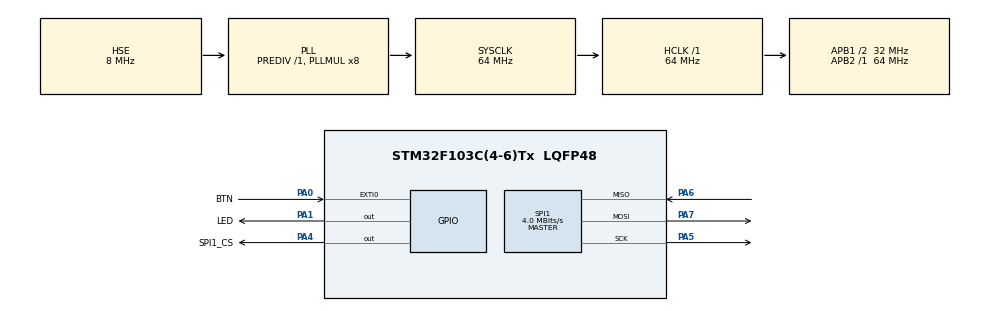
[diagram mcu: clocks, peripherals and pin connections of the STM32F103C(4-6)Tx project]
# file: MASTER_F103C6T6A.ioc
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Mcu.Family=STM32F1
Mcu.Name=STM32F103C(4-6)Tx
Mcu.Package=LQFP48
NVIC.EXTI0_IRQn=true\:0\:0\:false\:false\:true\:true\:true\:true
NVIC.PriorityGroup=NVIC_PRIORITYGROUP_4
PA0-WKUP.GPIO_Label=BTN
PA0-WKUP.GPIO_ModeDefaultEXTI=GPIO_MODE_IT_FALLING
PA0-WKUP.GPIO_PuPd=GPIO_NOPULL
PA0-WKUP.Signal=GPXTI0
PA1.GPIO_Label=LED
PA1.GPIO_Speed=GPIO_SPEED_FREQ_HIGH
PA1.Signal=GPIO_Output
PA13.Mode=Trace_Asynchronous_SW
PA13.Signal=SYS_JTMS-SWDIO
PA14.Mode=Trace_Asynchronous_SW
PA14.Signal=SYS_JTCK-SWCLK
PA4.GPIO_Label=SPI1_CS
PA4.GPIO_Speed=GPIO_SPEED_FREQ_HIGH
PA4.PinState=GPIO_PIN_SET
PA4.Signal=GPIO_Output
PA5.GPIO_Speed=GPIO_SPEED_FREQ_LOW
PA5.Mode=Full_Duplex_Master
PA5.Signal=SPI1_SCK
PA6.Mode=Full_Duplex_Master
PA6.Signal=SPI1_MISO
PA7.GPIO_Speed=GPIO_SPEED_FREQ_LOW
PA7.Mode=Full_Duplex_Master
PA7.Signal=SPI1_MOSI
PB3.Mode=Trace_Asynchronous_SW
PB3.Signal=SYS_JTDO-TRACESWO
PD0-OSC_IN.Mode=HSE-External-Oscillator
PD0-OSC_IN.Signal=RCC_OSC_IN
PD1-OSC_OUT.Mode=HSE-External-Oscillator
PD1-OSC_OUT.Signal=RCC_OSC_OUT
ProjectManager.HeapSize=0x200
ProjectManager.StackSize=0x400
ProjectManager.TargetToolchain=STM32CubeIDE
RCC.AHBFreq_Value=64000000
RCC.APB1CLKDivider=RCC_HCLK_DIV2
RCC.APB1Freq_Value=32000000
RCC.APB1TimFreq_Value=64000000
RCC.APB2Freq_Value=64000000
RCC.APB2TimFreq_Value=64000000
RCC.HCLKFreq_Value=64000000
RCC.PLLMUL=RCC_PLL_MUL8
RCC.PLLSourceVirtual=RCC_PLLSOURCE_HSE
RCC.SYSCLKFreq_VALUE=64000000
RCC.SYSCLKSource=RCC_SYSCLKSOURCE_PLLCLK
RCC.USBFreq_Value=64000000
SPI1.BaudRatePrescaler=SPI_BAUDRATEPRESCALER_16
SPI1.CalculateBaudRate=4.0 MBits/s
SPI1.Direction=SPI_DIRECTION_2LINES
SPI1.Mode=SPI_MODE_MASTER
SPI1.VirtualType=VM_MASTER
board=custom

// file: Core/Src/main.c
/* USER CODE BEGIN Header */
/**>>>>>>>>>>>>>>>>>>>>>>>>>>>>>> SPI MASTER PART <<<<<<<<<<<<<<<<<<<<<<<<<<<<<<<
  ******************************************************************************
  * @file           : main.c
  * @brief          : Main program body
  ******************************************************************************
  * @attention
  *
  * Copyright (c) 2024 STMicroelectronics.
  * All rights reserved.
  *
  * This software is licensed under terms that can be found in the LICENSE file
  * in the root directory of this software component.
  * If no LICENSE file comes with this software, it is provided AS-IS.
  *
  ******************************************************************************
  */
/* USER CODE END Header */
#include "main.h"

/* USER CODE BEGIN Includes */
#include <stdio.h>
#include <stdbool.h>
#include <string.h>
/* USER CODE END Includes */

/* USER CODE BEGIN PD */

/* SPI1 SW CS PA4 */
#define CS_START()        HAL_GPIO_WritePin(SPI1_CS_GPIO_Port, SPI1_CS_Pin, GPIO_PIN_RESET)
#define CS_END()          HAL_GPIO_WritePin(SPI1_CS_GPIO_Port, SPI1_CS_Pin, GPIO_PIN_SET)

/* Button debounce time, ms */
#define DEBOUNCE_DELAY    (50U)

/* USER CODE END PD */

SPI_HandleTypeDef hspi1;

/* USER CODE BEGIN PV */
bool isBtnPushed(void);
/* USER CODE END PV */

void SystemClock_Config(void);
static void MX_GPIO_Init(void);
static void MX_SPI1_Init(void);

/* USER CODE BEGIN 0 */

/* Button PA0 status from ISR */
volatile bool buttonIsPushed;

/* USER CODE END 0 */

int main(void)
{

  /* MCU Configuration--------------------------------------------------------*/

  /* Reset of all peripherals, Initializes the Flash interface and the Systick. */
  HAL_Init();

  /* Configure the system clock */
  SystemClock_Config();

  /* Initialize all configured peripherals */
  MX_GPIO_Init();
  MX_SPI1_Init();
  /* USER CODE BEGIN 2 */
  HAL_Delay(100);
  printf("STM32F103C6T6A: SPI MASTER:\n");

  /* Command byte Master -> Slave */
  uint8_t cmd = 0U;

  /* Buffer for Slave response */
  uint8_t rx_data[6] = {0U};

  /* USER CODE END 2 */

  /* Infinite loop */
  while (1)
  {

    /* USER CODE BEGIN 3 */

	  /* If button is pushed */
		if (isBtnPushed())
		{
			/* Start SPI operation */
			CS_START();
			/* Send request to Slave */
			HAL_SPI_Transmit(&hspi1, (uint8_t*)&cmd, 1U, 1000);
			/* Get response from Slave */
			HAL_SPI_Receive(&hspi1, rx_data, 6, 1000);
			/* End SPI operation */
			CS_END();

			/* Toggle LED */
			HAL_GPIO_TogglePin(LED_GPIO_Port, LED_Pin);

			/* Print results to SWO */
			printf(">>>>> 0x%02X\n", cmd);
			printf("Received ");

			for (uint32_t i = 0; i < sizeof(rx_data); i++)
			{
				printf("0x%02X ", rx_data[i]);
			}

			printf("\n");

			/* Increment command byte */
			cmd = (cmd == 0x5) ? 0x00U : cmd + 1U;
		}
  }
  /* USER CODE END 3 */
}

void SystemClock_Config(void)
{
  RCC_OscInitTypeDef RCC_OscInitStruct = {0};
  RCC_ClkInitTypeDef RCC_ClkInitStruct = {0};

  /** Initializes the RCC Oscillators according to the specified parameters
  * in the RCC_OscInitTypeDef structure.
  */
  RCC_OscInitStruct.OscillatorType = RCC_OSCILLATORTYPE_HSE;
  RCC_OscInitStruct.HSEState = RCC_HSE_ON;
  RCC_OscInitStruct.HSEPredivValue = RCC_HSE_PREDIV_DIV1;
  RCC_OscInitStruct.HSIState = RCC_HSI_ON;
  RCC_OscInitStruct.PLL.PLLState = RCC_PLL_ON;
  RCC_OscInitStruct.PLL.PLLSource = RCC_PLLSOURCE_HSE;
  RCC_OscInitStruct.PLL.PLLMUL = RCC_PLL_MUL8;
  if (HAL_RCC_OscConfig(&RCC_OscInitStruct) != HAL_OK)
  {
    Error_Handler();
  }

  /** Initializes the CPU, AHB and APB buses clocks
  */
  RCC_ClkInitStruct.ClockType = RCC_CLOCKTYPE_HCLK|RCC_CLOCKTYPE_SYSCLK
                              |RCC_CLOCKTYPE_PCLK1|RCC_CLOCKTYPE_PCLK2;
  RCC_ClkInitStruct.SYSCLKSource = RCC_SYSCLKSOURCE_PLLCLK;
  RCC_ClkInitStruct.AHBCLKDivider = RCC_SYSCLK_DIV1;
  RCC_ClkInitStruct.APB1CLKDivider = RCC_HCLK_DIV2;
  RCC_ClkInitStruct.APB2CLKDivider = RCC_HCLK_DIV1;

  if (HAL_RCC_ClockConfig(&RCC_ClkInitStruct, FLASH_LATENCY_2) != HAL_OK)
  {
    Error_Handler();
  }
}

static void MX_SPI1_Init(void)
{

  /* SPI1 parameter configuration*/
  hspi1.Instance = SPI1;
  hspi1.Init.Mode = SPI_MODE_MASTER;
  hspi1.Init.Direction = SPI_DIRECTION_2LINES;
  hspi1.Init.DataSize = SPI_DATASIZE_8BIT;
  hspi1.Init.CLKPolarity = SPI_POLARITY_LOW;
  hspi1.Init.CLKPhase = SPI_PHASE_1EDGE;
  hspi1.Init.NSS = SPI_NSS_SOFT;
  hspi1.Init.BaudRatePrescaler = SPI_BAUDRATEPRESCALER_16;
  hspi1.Init.FirstBit = SPI_FIRSTBIT_MSB;
  hspi1.Init.TIMode = SPI_TIMODE_DISABLE;
  hspi1.Init.CRCCalculation = SPI_CRCCALCULATION_DISABLE;
  hspi1.Init.CRCPolynomial = 10;
  if (HAL_SPI_Init(&hspi1) != HAL_OK)
  {
    Error_Handler();
  }

}

static void MX_GPIO_Init(void)
{
  GPIO_InitTypeDef GPIO_InitStruct = {0};

  /* GPIO Ports Clock Enable */
  __HAL_RCC_GPIOD_CLK_ENABLE();
  __HAL_RCC_GPIOA_CLK_ENABLE();
  __HAL_RCC_GPIOB_CLK_ENABLE();

  /*Configure GPIO pin Output Level */
  HAL_GPIO_WritePin(LED_GPIO_Port, LED_Pin, GPIO_PIN_RESET);

  /*Configure GPIO pin Output Level */
  HAL_GPIO_WritePin(SPI1_CS_GPIO_Port, SPI1_CS_Pin, GPIO_PIN_SET);

  /*Configure GPIO pin : BTN_Pin */
  GPIO_InitStruct.Pin = BTN_Pin;
  GPIO_InitStruct.Mode = GPIO_MODE_IT_FALLING;
  GPIO_InitStruct.Pull = GPIO_NOPULL;
  HAL_GPIO_Init(BTN_GPIO_Port, &GPIO_InitStruct);

  /*Configure GPIO pins : LED_Pin SPI1_CS_Pin */
  GPIO_InitStruct.Pin = LED_Pin|SPI1_CS_Pin;
  GPIO_InitStruct.Mode = GPIO_MODE_OUTPUT_PP;
  GPIO_InitStruct.Pull = GPIO_NOPULL;
  GPIO_InitStruct.Speed = GPIO_SPEED_FREQ_HIGH;
  HAL_GPIO_Init(GPIOA, &GPIO_InitStruct);

  /* EXTI interrupt init*/
  HAL_NVIC_SetPriority(EXTI0_IRQn, 0, 0);
  HAL_NVIC_EnableIRQ(EXTI0_IRQn);

}

/* USER CODE BEGIN 4 */

bool isBtnPushed(void)
{
	bool retVal = false;
	__disable_irq();
	retVal = (buttonIsPushed == true) ? true : false;
	buttonIsPushed = false;
	__enable_irq();
	return retVal;
}

/* Button PA0 ISR callback */
void HAL_GPIO_EXTI_Callback(uint16_t GPIO_Pin)
{
	static volatile uint32_t lastDebounceTime = 0UL;
	uint32_t currentTick = 0UL;

	if (GPIO_Pin == GPIO_PIN_0)
	{
		currentTick = HAL_GetTick();

		if ((currentTick - lastDebounceTime) > DEBOUNCE_DELAY)
		{
			buttonIsPushed = true;
			lastDebounceTime = currentTick;
		}
	}
}

int _write(int file, char *ptr, int len)
{
  /* Implement your write code here, this is used by puts and printf for example */
  int i=0;

  for(i=0 ; i<len ; i++)
  {
	  ITM_SendChar((*ptr++));
  }

  return len;
}
/* USER CODE END 4 */

void Error_Handler(void)
{
  __disable_irq();
  while (1)
  {
  }
}
